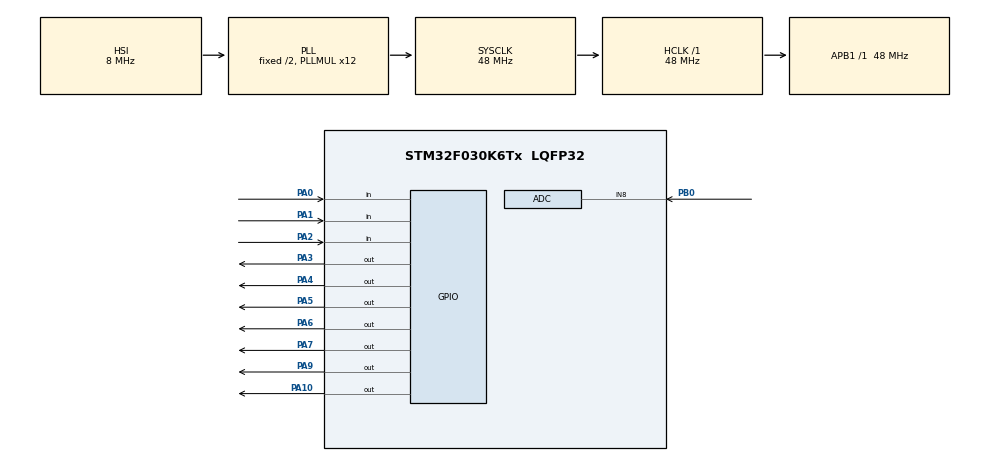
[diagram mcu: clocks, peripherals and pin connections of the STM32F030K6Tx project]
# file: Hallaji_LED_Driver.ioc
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ADC.ContinuousConvMode=DISABLE
ADC.DMAContinuousRequests=DISABLE
ADC.DataAlign=ADC_DATAALIGN_RIGHT
ADC.LowPowerAutoPowerOff=DISABLE
ADC.LowPowerAutoWait=DISABLE
ADC.SamplingTime=ADC_SAMPLETIME_13CYCLES_5
Mcu.Family=STM32F0
Mcu.Name=STM32F030K6Tx
Mcu.Package=LQFP32
NVIC.ADC1_IRQn=true\:2\:0\:true\:false\:true\:true\:true\:true
PA0.Signal=GPIO_Input
PA1.Signal=GPIO_Input
PA10.GPIO_Speed=GPIO_SPEED_FREQ_LOW
PA10.PinState=GPIO_PIN_SET
PA10.Signal=GPIO_Output
PA13.Mode=Serial_Wire
PA13.Signal=SYS_SWDIO
PA14.Mode=Serial_Wire
PA14.Signal=SYS_SWCLK
PA2.Signal=GPIO_Input
PA3.GPIO_Speed=GPIO_SPEED_FREQ_LOW
PA3.PinState=GPIO_PIN_SET
PA3.Signal=GPIO_Output
PA4.GPIO_Speed=GPIO_SPEED_FREQ_LOW
PA4.PinState=GPIO_PIN_SET
PA4.Signal=GPIO_Output
PA5.GPIO_Speed=GPIO_SPEED_FREQ_LOW
PA5.PinState=GPIO_PIN_SET
PA5.Signal=GPIO_Output
PA6.GPIO_Speed=GPIO_SPEED_FREQ_LOW
PA6.PinState=GPIO_PIN_SET
PA6.Signal=GPIO_Output
PA7.GPIO_Speed=GPIO_SPEED_FREQ_LOW
PA7.PinState=GPIO_PIN_SET
PA7.Signal=GPIO_Output
PA9.GPIO_FMA9=__NULL
PA9.GPIO_Speed=GPIO_SPEED_FREQ_LOW
PA9.PinState=GPIO_PIN_SET
PA9.Signal=GPIO_Output
PB0.Mode=IN8
PB0.Signal=ADC_IN8
PF0-OSC_IN.Mode=HSE-External-Oscillator
PF0-OSC_IN.Signal=RCC_OSC_IN
PF1-OSC_OUT.Mode=HSE-External-Oscillator
PF1-OSC_OUT.Signal=RCC_OSC_OUT
ProjectManager.HeapSize=0x200
ProjectManager.StackSize=0x400
ProjectManager.TargetToolchain=STM32CubeIDE
RCC.AHBFreq_Value=48000000
RCC.APB1Freq_Value=48000000
RCC.APB1TimFreq_Value=48000000
RCC.HCLKFreq_Value=48000000
RCC.PLLMUL=RCC_PLL_MUL12
RCC.SYSCLKFreq_VALUE=48000000
RCC.SYSCLKSource=RCC_SYSCLKSOURCE_PLLCLK
board=custom

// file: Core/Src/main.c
/* USER CODE BEGIN Header */
/**
  ******************************************************************************
  * @file           : main.c
  * @brief          : Main program body
  ******************************************************************************
  * @attention
  *
  * Copyright (c) 2026 STMicroelectronics.
  * All rights reserved.
  *
  * This software is licensed under terms that can be found in the LICENSE file
  * in the root directory of this software component.
  * If no LICENSE file comes with this software, it is provided AS-IS.
  *
  ******************************************************************************
  */
/* USER CODE END Header */
#include "main.h"

/* USER CODE BEGIN Includes */

#include <stdlib.h>

/* USER CODE END Includes */

ADC_HandleTypeDef hadc;

/* USER CODE BEGIN PV */

#define greenmap 1
#define redmap 2
#define whitemap 3

/*
#define greenmap 2
#define redmap 3
#define whitemap 1
 */

uint8_t shift1[8] = {2, 3, 1, 2, 3, 1, 2, 3};
uint8_t shift2[8] = {3, 1, 2, 3, 1, 2, 3, 1};
//uint8_t shift3[8] = {3, 1, 2, 3, 3, 1, 2, 3};
uint8_t shift3[8] = {2, 3, 1, 2, 2, 3, 1, 2};
uint8_t shift4[8] = {3, 1, 2, 3, 1, 2, 3, 1};
uint8_t shift5[8] = {1, 2, 3, 1, 2, 3, 1, 2};

uint8_t if_red = 0;
uint8_t if_green = 0;
uint8_t if_white = 0;

uint16_t timeval;

uint32_t old_dance_time;

uint8_t order = 0;

/* USER CODE END PV */

void SystemClock_Config(void);
static void MX_GPIO_Init(void);
static void MX_ADC_Init(void);

/* USER CODE BEGIN 0 */

#define SER_PIN GPIO_PIN_7
#define SER_PORT GPIOA

#define SRCLK_PIN GPIO_PIN_6
#define SRCLK_PORT GPIOA

#define RCLK_PIN1 GPIO_PIN_3
#define RCLK_PORT1 GPIOA

#define RCLK_PIN2 GPIO_PIN_5
#define RCLK_PORT2 GPIOA

#define RCLK_PIN3 GPIO_PIN_9
#define RCLK_PORT3 GPIOA

#define RCLK_PIN4 GPIO_PIN_10
#define RCLK_PORT4 GPIOA

#define RCLK_PIN5 GPIO_PIN_4
#define RCLK_PORT5 GPIOA

uint8_t currentVal =  0b00000000;

void HC595write(uint8_t latch)
{
    for(int i=0; i<8; i++)
    {
        if(currentVal & (1<<i))
        {
        	HAL_GPIO_WritePin(SER_PORT, SER_PIN, GPIO_PIN_SET);

        }
        else
        {
           HAL_GPIO_WritePin(SER_PORT, SER_PIN, GPIO_PIN_RESET);
        }
        HAL_GPIO_WritePin(SRCLK_PORT, SRCLK_PIN, GPIO_PIN_SET);
        HAL_GPIO_WritePin(SRCLK_PORT, SRCLK_PIN, GPIO_PIN_RESET);

    }
    if(latch == 1){
    HAL_GPIO_WritePin(RCLK_PORT1, RCLK_PIN1, GPIO_PIN_RESET);
    HAL_Delay(1);
    HAL_GPIO_WritePin(RCLK_PORT1, RCLK_PIN1, GPIO_PIN_SET);
    }
    if(latch == 2){
    HAL_GPIO_WritePin(RCLK_PORT2, RCLK_PIN2, GPIO_PIN_RESET);
    HAL_Delay(1);
    HAL_GPIO_WritePin(RCLK_PORT2, RCLK_PIN2, GPIO_PIN_SET);
    }
    if(latch == 3){
    HAL_GPIO_WritePin(RCLK_PORT3, RCLK_PIN3, GPIO_PIN_RESET);
    HAL_Delay(1);
    HAL_GPIO_WritePin(RCLK_PORT3, RCLK_PIN3, GPIO_PIN_SET);
    }
    if(latch == 4){
    HAL_GPIO_WritePin(RCLK_PORT4, RCLK_PIN4, GPIO_PIN_RESET);
    HAL_Delay(1);
    HAL_GPIO_WritePin(RCLK_PORT4, RCLK_PIN4, GPIO_PIN_SET);
    }
    if(latch == 5){
    HAL_GPIO_WritePin(RCLK_PORT5, RCLK_PIN5, GPIO_PIN_RESET);
    HAL_Delay(1);
    HAL_GPIO_WritePin(RCLK_PORT5, RCLK_PIN5, GPIO_PIN_SET);
    }

}

void HC595writePin(uint8_t pin, uint8_t value, uint8_t latch)
{
      if (value == 0)
      {
          currentVal &= ~(1 << pin);
      }
      else
      {
          currentVal |= (1 << pin);
      }
      HC595write(latch);
}

void LED_Manager(uint8_t red, uint8_t green, uint8_t white){
	for(int i = 0; i < 8; i++){
			  if(shift1[i] == greenmap){
			  HAL_GPIO_WritePin(SER_PORT, SER_PIN, green);
			  }
			  if(shift1[i] == redmap){
			  HAL_GPIO_WritePin(SER_PORT, SER_PIN, red);
			  }
			  if(shift1[i] == whitemap){
			  HAL_GPIO_WritePin(SER_PORT, SER_PIN, white);
			  }
			  //HAL_Delay(1);
			   HAL_GPIO_WritePin(SRCLK_PORT, SRCLK_PIN, GPIO_PIN_SET);
			   //HAL_Delay(1);
			   HAL_GPIO_WritePin(SRCLK_PORT, SRCLK_PIN, GPIO_PIN_RESET);
		}
			   HAL_GPIO_WritePin(RCLK_PORT1, RCLK_PIN1, GPIO_PIN_RESET);
			   HAL_Delay(1);
			   HAL_GPIO_WritePin(RCLK_PORT1, RCLK_PIN1, GPIO_PIN_SET);

				for(int i = 0; i < 8; i++){
						  if(shift2[i] == greenmap){
						  HAL_GPIO_WritePin(SER_PORT, SER_PIN, green);
						  }
						  if(shift2[i] == redmap){
						  HAL_GPIO_WritePin(SER_PORT, SER_PIN, red);
						  }
						  if(shift2[i] == whitemap){
						  HAL_GPIO_WritePin(SER_PORT, SER_PIN, white);
						  }
						  //HAL_Delay(1);
						   HAL_GPIO_WritePin(SRCLK_PORT, SRCLK_PIN, GPIO_PIN_SET);
						   //HAL_Delay(1);
						   HAL_GPIO_WritePin(SRCLK_PORT, SRCLK_PIN, GPIO_PIN_RESET);
					}
						   HAL_GPIO_WritePin(RCLK_PORT2, RCLK_PIN2, GPIO_PIN_RESET);
						   HAL_Delay(1);
						   HAL_GPIO_WritePin(RCLK_PORT2, RCLK_PIN2, GPIO_PIN_SET);

						   /**/
							for(int i = 0; i < 8; i++){
									  if(shift3[i] == greenmap){
									  HAL_GPIO_WritePin(SER_PORT, SER_PIN, green);
									  }
									  if(shift3[i] == redmap){
									  HAL_GPIO_WritePin(SER_PORT, SER_PIN, red);
									  }
									  if(shift3[i] == whitemap){
									  HAL_GPIO_WritePin(SER_PORT, SER_PIN, white);
									  }
									  //HAL_Delay(1);
									   HAL_GPIO_WritePin(SRCLK_PORT, SRCLK_PIN, GPIO_PIN_SET);
									   //HAL_Delay(1);
									   HAL_GPIO_WritePin(SRCLK_PORT, SRCLK_PIN, GPIO_PIN_RESET);
								}
									   HAL_GPIO_WritePin(RCLK_PORT3, RCLK_PIN3, GPIO_PIN_RESET);
									   HAL_Delay(1);
									   HAL_GPIO_WritePin(RCLK_PORT3, RCLK_PIN3, GPIO_PIN_SET);

										for(int i = 0; i < 8; i++){
												  if(shift4[i] == greenmap){
												  HAL_GPIO_WritePin(SER_PORT, SER_PIN, green);
												  }
												  if(shift4[i] == redmap){
												  HAL_GPIO_WritePin(SER_PORT, SER_PIN, red);
												  }
												  if(shift4[i] == whitemap){
												  HAL_GPIO_WritePin(SER_PORT, SER_PIN, white);
												  }
												  //HAL_Delay(1);
												   HAL_GPIO_WritePin(SRCLK_PORT, SRCLK_PIN, GPIO_PIN_SET);
												   //HAL_Delay(1);
												   HAL_GPIO_WritePin(SRCLK_PORT, SRCLK_PIN, GPIO_PIN_RESET);
											}
												   HAL_GPIO_WritePin(RCLK_PORT4, RCLK_PIN4, GPIO_PIN_RESET);
												   HAL_Delay(1);
												   HAL_GPIO_WritePin(RCLK_PORT4, RCLK_PIN4, GPIO_PIN_SET);

													for(int i = 0; i < 8; i++){
															  if(shift5[i] == greenmap){
															  HAL_GPIO_WritePin(SER_PORT, SER_PIN, green);
															  }
															  if(shift5[i] == redmap){
															  HAL_GPIO_WritePin(SER_PORT, SER_PIN, red);
															  }
															  if(shift5[i] == whitemap){
															  HAL_GPIO_WritePin(SER_PORT, SER_PIN, white);
															  }
															  //HAL_Delay(1);
															   HAL_GPIO_WritePin(SRCLK_PORT, SRCLK_PIN, GPIO_PIN_SET);
															   //HAL_Delay(1);
															   HAL_GPIO_WritePin(SRCLK_PORT, SRCLK_PIN, GPIO_PIN_RESET);
														}
															   HAL_GPIO_WritePin(RCLK_PORT5, RCLK_PIN5, GPIO_PIN_RESET);
															   HAL_Delay(1);
															   HAL_GPIO_WritePin(RCLK_PORT5, RCLK_PIN5, GPIO_PIN_SET);

}

void LED_DANCE(){

	if(HAL_GetTick() - old_dance_time >= timeval && order == 0){
				  		LED_Manager(1, 0, 0);
				  		order++;
				  		old_dance_time = HAL_GetTick();
	}
	if(HAL_GetTick() - old_dance_time >= timeval && order == 1){
						LED_Manager(0, 1, 0);
				  		order++;
				  		old_dance_time = HAL_GetTick();
	}
	if(HAL_GetTick() - old_dance_time >= timeval && order == 2){
						LED_Manager(0, 0, 1);
				  		order = 0;
				  		old_dance_time = HAL_GetTick();
	}

	/*
	if(HAL_GetTick() - old_dance_time >= timeval && order == 3){
		HC595writePin(1, 1, 1);
  		order++;
  		old_dance_time = HAL_GetTick();
	}
	if(HAL_GetTick() - old_dance_time >= timeval && order == 4){
		HC595writePin(2, 1, 1);
  		order++;
  		old_dance_time = HAL_GetTick();
	}
	if(HAL_GetTick() - old_dance_time >= timeval && order == 5){
		HC595writePin(3, 1, 1);
  		order++;
  		old_dance_time = HAL_GetTick();
	}

*/

}

void HAL_ADC_ConvCpltCallback(ADC_HandleTypeDef* hadc)
{

    HAL_ADC_PollForConversion(hadc, HAL_MAX_DELAY);
timeval = HAL_ADC_GetValue(hadc);

HAL_ADC_Start_IT(hadc);

}

/*
void HAL_GPIO_EXTI_Callback(uint16_t GPIO_Pin)
{

	  	if(HAL_GPIO_ReadPin(GPIOA, GPIO_PIN_0) == 0){
	  	if_green = 1;
		}
	  	else {
	  	if_green = 0;
	  	}

		if(HAL_GPIO_ReadPin(GPIOA, GPIO_PIN_1) == 0){
			if_red = 1;
		}
	  	else {
	  		if_red = 0;
	  	}

		if(HAL_GPIO_ReadPin(GPIOA, GPIO_PIN_2) == 0){
	  		if_white = 1;
		}
	  	else {
	  		if_white = 0;
	  	}

	  	if(GPIO_Pin == GPIO_PIN_0){
	  	if_green = 1;
		}
	  	else {
	  	if_green = 0;
	  	}

		if(GPIO_Pin == GPIO_PIN_1){
			if_red = 1;
		}
	  	else {
	  		if_red = 0;
	  	}

		if(GPIO_Pin == GPIO_PIN_2){
	  		if_white = 1;
		}
	  	else {
	  		if_white = 0;
	  	}

		LED_Manager(if_red, if_green, if_white);
}

void HAL_ADC_ConvCpltCallback(ADC_HandleTypeDef* hadc)
{

	timeval = HAL_ADC_GetValue(&hadc);

}
*/
/* USER CODE END 0 */

int main(void)
{

  /* MCU Configuration--------------------------------------------------------*/

  /* Reset of all peripherals, Initializes the Flash interface and the Systick. */
  HAL_Init();

  /* USER CODE BEGIN Init */
//HAL_Delay(100);
  /* USER CODE END Init */

  /* Configure the system clock */
  SystemClock_Config();

  /* USER CODE BEGIN SysInit */
//HAL_Delay(100);
  /* USER CODE END SysInit */

  /* Initialize all configured peripherals */
  MX_GPIO_Init();
  MX_ADC_Init();
  /* USER CODE BEGIN 2 */

  //HAL_Delay(100);

  //HAL_GPIO_WritePin(RCLK_PORT, RCLK_PIN, GPIO_PIN_SET);

/**/
  for(int i = 0; i < 8; i++){
	  HAL_GPIO_WritePin(SER_PORT, SER_PIN, GPIO_PIN_RESET);
	  //HAL_Delay(1);
	   HAL_GPIO_WritePin(SRCLK_PORT, SRCLK_PIN, GPIO_PIN_SET);
	   //HAL_Delay(1);
	   HAL_GPIO_WritePin(SRCLK_PORT, SRCLK_PIN, GPIO_PIN_RESET);
	   //HAL_Delay(1);

}

	   HAL_GPIO_WritePin(RCLK_PORT1, RCLK_PIN1, GPIO_PIN_RESET);
	   HAL_GPIO_WritePin(RCLK_PORT2, RCLK_PIN2, GPIO_PIN_RESET);
	   HAL_GPIO_WritePin(RCLK_PORT3, RCLK_PIN3, GPIO_PIN_RESET);
	   HAL_GPIO_WritePin(RCLK_PORT4, RCLK_PIN4, GPIO_PIN_RESET);
	   HAL_GPIO_WritePin(RCLK_PORT5, RCLK_PIN5, GPIO_PIN_RESET);

	   //HAL_Delay(1);
	   HAL_GPIO_WritePin(RCLK_PORT1, RCLK_PIN1, GPIO_PIN_SET);
	   HAL_GPIO_WritePin(RCLK_PORT2, RCLK_PIN2, GPIO_PIN_SET);
	   HAL_GPIO_WritePin(RCLK_PORT3, RCLK_PIN3, GPIO_PIN_SET);
	   HAL_GPIO_WritePin(RCLK_PORT4, RCLK_PIN4, GPIO_PIN_SET);
	   HAL_GPIO_WritePin(RCLK_PORT5, RCLK_PIN5, GPIO_PIN_SET);
	   HAL_Delay(1);

HAL_ADCEx_Calibration_Start(&hadc);
HAL_ADC_Start_IT(&hadc);

	   old_dance_time = HAL_GetTick();

  /* USER CODE END 2 */

  /* Infinite loop */
  while (1)
  {

    /* USER CODE BEGIN 3 */

	  if(HAL_GPIO_ReadPin(GPIOA, GPIO_PIN_0) == 0){
	  	  	if_green = 1;
	  	  	order = 0;
	  		}
	  	  	else {
	  	  	if_green = 0;
	  	  	}

	  		if(HAL_GPIO_ReadPin(GPIOA, GPIO_PIN_1) == 0){
	  			if_red = 1;
	  			order = 0;
	  		}
	  	  	else {
	  	  		if_red = 0;
	  	  	}

	  		if(HAL_GPIO_ReadPin(GPIOA, GPIO_PIN_2) == 0){
	  	  		if_white = 1;
	  	  	order = 0;
	  		}
	  	  	else {
	  	  		if_white = 0;
	  	  	}
	  		if(if_green == 1 || if_white == 1 || if_red == 1){
	  		LED_Manager(if_red, if_green, if_white);
	  		}

	  		if(if_green == 0 && if_white == 0 && if_red == 0){
	  LED_DANCE();
	  		}

  }
  /* USER CODE END 3 */
}

void SystemClock_Config(void)
{
  RCC_OscInitTypeDef RCC_OscInitStruct = {0};
  RCC_ClkInitTypeDef RCC_ClkInitStruct = {0};

  /** Initializes the RCC Oscillators according to the specified parameters
  * in the RCC_OscInitTypeDef structure.
  */
  RCC_OscInitStruct.OscillatorType = RCC_OSCILLATORTYPE_HSI|RCC_OSCILLATORTYPE_HSI14;
  RCC_OscInitStruct.HSIState = RCC_HSI_ON;
  RCC_OscInitStruct.HSI14State = RCC_HSI14_ON;
  RCC_OscInitStruct.HSICalibrationValue = RCC_HSICALIBRATION_DEFAULT;
  RCC_OscInitStruct.HSI14CalibrationValue = 16;
  RCC_OscInitStruct.PLL.PLLState = RCC_PLL_ON;
  RCC_OscInitStruct.PLL.PLLSource = RCC_PLLSOURCE_HSI;
  RCC_OscInitStruct.PLL.PLLMUL = RCC_PLL_MUL12;
  RCC_OscInitStruct.PLL.PREDIV = RCC_PREDIV_DIV1;
  if (HAL_RCC_OscConfig(&RCC_OscInitStruct) != HAL_OK)
  {
    Error_Handler();
  }

  /** Initializes the CPU, AHB and APB buses clocks
  */
  RCC_ClkInitStruct.ClockType = RCC_CLOCKTYPE_HCLK|RCC_CLOCKTYPE_SYSCLK
                              |RCC_CLOCKTYPE_PCLK1;
  RCC_ClkInitStruct.SYSCLKSource = RCC_SYSCLKSOURCE_PLLCLK;
  RCC_ClkInitStruct.AHBCLKDivider = RCC_SYSCLK_DIV1;
  RCC_ClkInitStruct.APB1CLKDivider = RCC_HCLK_DIV1;

  if (HAL_RCC_ClockConfig(&RCC_ClkInitStruct, FLASH_LATENCY_1) != HAL_OK)
  {
    Error_Handler();
  }
}

static void MX_ADC_Init(void)
{

  ADC_ChannelConfTypeDef sConfig = {0};

  /** Configure the global features of the ADC (Clock, Resolution, Data Alignment and number of conversion)
  */
  hadc.Instance = ADC1;
  hadc.Init.ClockPrescaler = ADC_CLOCK_ASYNC_DIV1;
  hadc.Init.Resolution = ADC_RESOLUTION_12B;
  hadc.Init.DataAlign = ADC_DATAALIGN_RIGHT;
  hadc.Init.ScanConvMode = ADC_SCAN_DIRECTION_FORWARD;
  hadc.Init.EOCSelection = ADC_EOC_SINGLE_CONV;
  hadc.Init.LowPowerAutoWait = DISABLE;
  hadc.Init.LowPowerAutoPowerOff = DISABLE;
  hadc.Init.ContinuousConvMode = DISABLE;
  hadc.Init.DiscontinuousConvMode = DISABLE;
  hadc.Init.ExternalTrigConv = ADC_SOFTWARE_START;
  hadc.Init.ExternalTrigConvEdge = ADC_EXTERNALTRIGCONVEDGE_NONE;
  hadc.Init.DMAContinuousRequests = DISABLE;
  hadc.Init.Overrun = ADC_OVR_DATA_PRESERVED;
  if (HAL_ADC_Init(&hadc) != HAL_OK)
  {
    Error_Handler();
  }

  /** Configure for the selected ADC regular channel to be converted.
  */
  sConfig.Channel = ADC_CHANNEL_8;
  sConfig.Rank = ADC_RANK_CHANNEL_NUMBER;
  sConfig.SamplingTime = ADC_SAMPLETIME_13CYCLES_5;
  if (HAL_ADC_ConfigChannel(&hadc, &sConfig) != HAL_OK)
  {
    Error_Handler();
  }

}

static void MX_GPIO_Init(void)
{
  GPIO_InitTypeDef GPIO_InitStruct = {0};

  /* GPIO Ports Clock Enable */
  __HAL_RCC_GPIOF_CLK_ENABLE();
  __HAL_RCC_GPIOA_CLK_ENABLE();
  __HAL_RCC_GPIOB_CLK_ENABLE();

  /*Configure GPIO pin Output Level */
  HAL_GPIO_WritePin(GPIOA, GPIO_PIN_3|GPIO_PIN_4|GPIO_PIN_5|GPIO_PIN_6
                          |GPIO_PIN_7|GPIO_PIN_9|GPIO_PIN_10, GPIO_PIN_SET);

  /*Configure GPIO pins : PA0 PA1 PA2 */
  GPIO_InitStruct.Pin = GPIO_PIN_0|GPIO_PIN_1|GPIO_PIN_2;
  GPIO_InitStruct.Mode = GPIO_MODE_INPUT;
  GPIO_InitStruct.Pull = GPIO_NOPULL;
  HAL_GPIO_Init(GPIOA, &GPIO_InitStruct);

  /*Configure GPIO pins : PA3 PA4 PA5 PA6
                           PA7 PA9 PA10 */
  GPIO_InitStruct.Pin = GPIO_PIN_3|GPIO_PIN_4|GPIO_PIN_5|GPIO_PIN_6
                          |GPIO_PIN_7|GPIO_PIN_9|GPIO_PIN_10;
  GPIO_InitStruct.Mode = GPIO_MODE_OUTPUT_PP;
  GPIO_InitStruct.Pull = GPIO_NOPULL;
  GPIO_InitStruct.Speed = GPIO_SPEED_FREQ_LOW;
  HAL_GPIO_Init(GPIOA, &GPIO_InitStruct);

}

void Error_Handler(void)
{
  __disable_irq();
  while (1)
  {
  }
}
